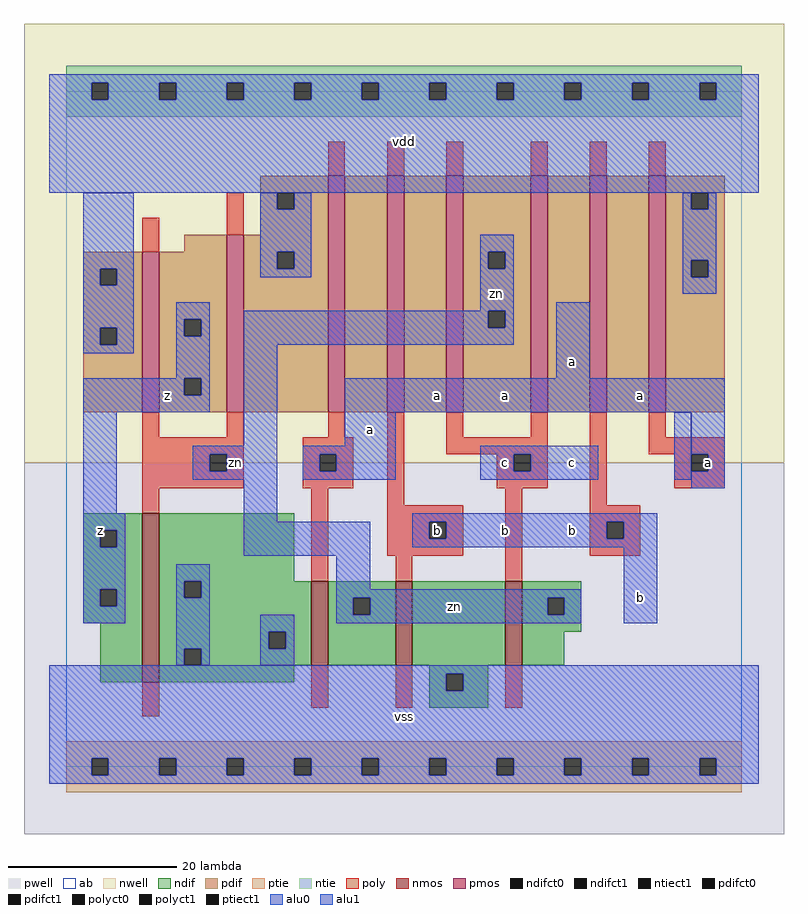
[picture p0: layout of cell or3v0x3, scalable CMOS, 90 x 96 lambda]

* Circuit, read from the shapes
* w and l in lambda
.subckt or3v0x3 a b c vdd vss z zn
M1 vss zn z vss nfet w=20 l=2
M2 zn a vss vss nfet w=10 l=2
M3 vss b zn vss nfet w=10 l=2
M4 zn c vss vss nfet w=10 l=2
M5 z zn vdd vdd pfet w=19 l=2
M6 vdd zn z vdd pfet w=21 l=2
M7 n1 a vdd vdd pfet w=28 l=2
M8 n2 b n1 vdd pfet w=28 l=2
M9 zn c n2 vdd pfet w=28 l=2
M10 n3 c zn vdd pfet w=28 l=2
M11 n4 b n3 vdd pfet w=28 l=2
M12 vdd a n4 vdd pfet w=28 l=2
.ends

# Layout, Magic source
magic
tech scmos
<< ab >>
rect 0 0 80 80
<< nwell >>
rect -5 36 85 88
<< pwell >>
rect -5 -8 85 36
<< poly >>
rect 31 70 33 74
rect 38 70 40 74
rect 45 70 47 74
rect 55 70 57 74
rect 62 70 64 74
rect 69 70 71 74
rect 9 61 11 65
rect 19 63 21 68
rect 9 39 11 42
rect 19 39 21 42
rect 31 39 33 42
rect 9 37 21 39
rect 9 35 17 37
rect 19 35 21 37
rect 9 33 21 35
rect 28 37 34 39
rect 28 35 30 37
rect 32 35 34 37
rect 28 33 34 35
rect 9 30 11 33
rect 29 22 31 33
rect 38 31 40 42
rect 45 39 47 42
rect 55 39 57 42
rect 45 37 57 39
rect 51 35 53 37
rect 55 35 57 37
rect 51 33 57 35
rect 38 29 47 31
rect 38 27 43 29
rect 45 27 47 29
rect 38 25 47 27
rect 39 22 41 25
rect 52 22 54 33
rect 62 31 64 42
rect 69 39 71 42
rect 69 37 78 39
rect 72 35 74 37
rect 76 35 78 37
rect 72 33 78 35
rect 62 29 68 31
rect 62 27 64 29
rect 66 27 68 29
rect 62 25 68 27
rect 9 6 11 10
rect 29 7 31 12
rect 39 7 41 12
rect 52 7 54 12
<< ndif >>
rect 2 28 9 30
rect 2 26 4 28
rect 6 26 9 28
rect 2 21 9 26
rect 2 19 4 21
rect 6 19 9 21
rect 2 17 9 19
rect 4 10 9 17
rect 11 22 27 30
rect 11 20 14 22
rect 16 20 29 22
rect 11 16 29 20
rect 11 14 24 16
rect 26 14 29 16
rect 11 12 14 14
rect 16 12 29 14
rect 31 20 39 22
rect 31 18 34 20
rect 36 18 39 20
rect 31 12 39 18
rect 41 12 52 22
rect 54 20 61 22
rect 54 18 57 20
rect 59 18 61 20
rect 54 16 61 18
rect 54 12 59 16
rect 11 10 27 12
rect 43 11 50 12
rect 43 9 45 11
rect 47 9 50 11
rect 43 7 50 9
<< pdif >>
rect 23 68 31 70
rect 23 66 25 68
rect 27 66 31 68
rect 23 63 31 66
rect 14 61 19 63
rect 2 59 9 61
rect 2 57 4 59
rect 6 57 9 59
rect 2 52 9 57
rect 2 50 4 52
rect 6 50 9 52
rect 2 42 9 50
rect 11 53 19 61
rect 11 51 14 53
rect 16 51 19 53
rect 11 46 19 51
rect 11 44 14 46
rect 16 44 19 46
rect 11 42 19 44
rect 21 61 31 63
rect 21 59 25 61
rect 27 59 31 61
rect 21 42 31 59
rect 33 42 38 70
rect 40 42 45 70
rect 47 61 55 70
rect 47 59 50 61
rect 52 59 55 61
rect 47 54 55 59
rect 47 52 50 54
rect 52 52 55 54
rect 47 42 55 52
rect 57 42 62 70
rect 64 42 69 70
rect 71 68 78 70
rect 71 66 74 68
rect 76 66 78 68
rect 71 60 78 66
rect 71 58 74 60
rect 76 58 78 60
rect 71 42 78 58
<< alu1 >>
rect -2 81 82 82
rect -2 79 3 81
rect 5 79 11 81
rect 13 79 19 81
rect 21 79 27 81
rect 29 79 35 81
rect 37 79 43 81
rect 45 79 51 81
rect 53 79 59 81
rect 61 79 67 81
rect 69 79 75 81
rect 77 79 82 81
rect -2 68 82 79
rect 13 53 17 55
rect 13 51 14 53
rect 16 51 17 53
rect 13 46 17 51
rect 2 44 14 46
rect 16 44 17 46
rect 2 42 17 44
rect 2 30 6 42
rect 58 46 62 55
rect 33 42 78 46
rect 33 38 39 42
rect 28 37 39 38
rect 28 35 30 37
rect 32 35 39 37
rect 28 34 39 35
rect 49 37 63 38
rect 49 35 53 37
rect 55 35 63 37
rect 49 34 63 35
rect 74 37 78 42
rect 76 35 78 37
rect 2 28 7 30
rect 2 26 4 28
rect 6 26 7 28
rect 2 21 7 26
rect 74 33 78 35
rect 41 29 70 30
rect 41 27 43 29
rect 45 27 64 29
rect 66 27 70 29
rect 41 26 70 27
rect 2 19 4 21
rect 6 19 7 21
rect 2 17 7 19
rect 66 17 70 26
rect -2 11 82 12
rect -2 9 45 11
rect 47 9 82 11
rect -2 1 82 9
rect -2 -1 3 1
rect 5 -1 11 1
rect 13 -1 19 1
rect 21 -1 27 1
rect 29 -1 35 1
rect 37 -1 43 1
rect 45 -1 51 1
rect 53 -1 59 1
rect 61 -1 67 1
rect 69 -1 75 1
rect 77 -1 82 1
rect -2 -2 82 -1
<< ptie >>
rect 0 1 80 3
rect 0 -1 3 1
rect 5 -1 11 1
rect 13 -1 19 1
rect 21 -1 27 1
rect 29 -1 35 1
rect 37 -1 43 1
rect 45 -1 51 1
rect 53 -1 59 1
rect 61 -1 67 1
rect 69 -1 75 1
rect 77 -1 80 1
rect 0 -3 80 -1
<< ntie >>
rect 0 81 80 83
rect 0 79 3 81
rect 5 79 11 81
rect 13 79 19 81
rect 21 79 27 81
rect 29 79 35 81
rect 37 79 43 81
rect 45 79 51 81
rect 53 79 59 81
rect 61 79 67 81
rect 69 79 75 81
rect 77 79 80 81
rect 0 77 80 79
<< nmos >>
rect 9 10 11 30
rect 29 12 31 22
rect 39 12 41 22
rect 52 12 54 22
<< pmos >>
rect 9 42 11 61
rect 19 42 21 63
rect 31 42 33 70
rect 38 42 40 70
rect 45 42 47 70
rect 55 42 57 70
rect 62 42 64 70
rect 69 42 71 70
<< polyct0 >>
rect 17 35 19 37
<< polyct1 >>
rect 30 35 32 37
rect 53 35 55 37
rect 43 27 45 29
rect 74 35 76 37
rect 64 27 66 29
<< ndifct0 >>
rect 14 20 16 22
rect 24 14 26 16
rect 14 12 16 14
rect 34 18 36 20
rect 57 18 59 20
<< ndifct1 >>
rect 4 26 6 28
rect 4 19 6 21
rect 45 9 47 11
<< ntiect1 >>
rect 3 79 5 81
rect 11 79 13 81
rect 19 79 21 81
rect 27 79 29 81
rect 35 79 37 81
rect 43 79 45 81
rect 51 79 53 81
rect 59 79 61 81
rect 67 79 69 81
rect 75 79 77 81
<< ptiect1 >>
rect 3 -1 5 1
rect 11 -1 13 1
rect 19 -1 21 1
rect 27 -1 29 1
rect 35 -1 37 1
rect 43 -1 45 1
rect 51 -1 53 1
rect 59 -1 61 1
rect 67 -1 69 1
rect 75 -1 77 1
<< pdifct0 >>
rect 25 66 27 68
rect 4 57 6 59
rect 4 50 6 52
rect 25 59 27 61
rect 50 59 52 61
rect 50 52 52 54
rect 74 66 76 68
rect 74 58 76 60
<< pdifct1 >>
rect 14 51 16 53
rect 14 44 16 46
<< alu0 >>
rect 2 59 8 68
rect 2 57 4 59
rect 6 57 8 59
rect 23 66 25 68
rect 27 66 29 68
rect 23 61 29 66
rect 73 66 74 68
rect 76 66 77 68
rect 23 59 25 61
rect 27 59 29 61
rect 23 58 29 59
rect 49 61 53 63
rect 49 59 50 61
rect 52 59 53 61
rect 2 52 8 57
rect 2 50 4 52
rect 6 50 8 52
rect 2 49 8 50
rect 49 54 53 59
rect 73 60 77 66
rect 73 58 74 60
rect 76 58 77 60
rect 73 56 77 58
rect 21 52 50 54
rect 52 52 53 54
rect 21 50 53 52
rect 21 38 25 50
rect 15 37 25 38
rect 15 35 17 37
rect 19 35 25 37
rect 15 34 25 35
rect 72 34 74 42
rect 21 29 25 34
rect 21 25 36 29
rect 13 22 17 24
rect 13 20 14 22
rect 16 20 17 22
rect 13 14 17 20
rect 32 21 36 25
rect 32 20 61 21
rect 32 18 34 20
rect 36 18 57 20
rect 59 18 61 20
rect 13 12 14 14
rect 16 12 17 14
rect 23 16 27 18
rect 32 17 61 18
rect 23 14 24 16
rect 26 14 27 16
rect 23 12 27 14
<< labels >>
rlabel alu0 20 36 20 36 6 zn
rlabel alu0 51 56 51 56 6 zn
rlabel alu0 46 19 46 19 6 zn
rlabel alu1 4 28 4 28 6 z
rlabel alu1 12 44 12 44 6 z
rlabel alu1 36 40 36 40 6 a
rlabel alu1 40 6 40 6 6 vss
rlabel polyct1 44 28 44 28 6 b
rlabel alu1 52 28 52 28 6 b
rlabel alu1 52 36 52 36 6 c
rlabel alu1 52 44 52 44 6 a
rlabel alu1 44 44 44 44 6 a
rlabel alu1 40 74 40 74 6 vdd
rlabel alu1 68 20 68 20 6 b
rlabel alu1 60 28 60 28 6 b
rlabel alu1 60 36 60 36 6 c
rlabel alu1 76 36 76 36 6 a
rlabel alu1 68 44 68 44 6 a
rlabel alu1 60 48 60 48 6 a
<< end >>
